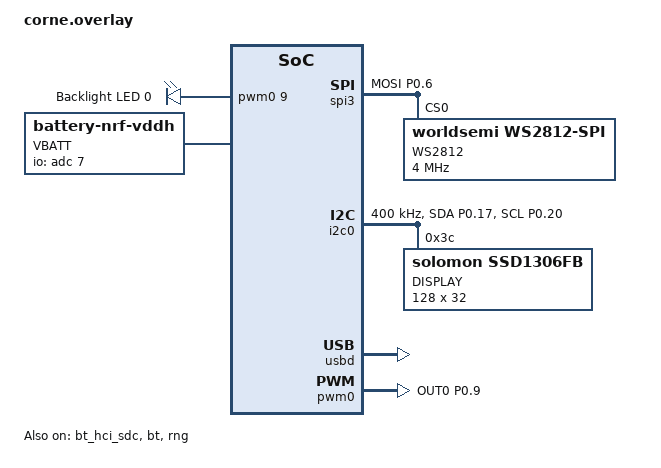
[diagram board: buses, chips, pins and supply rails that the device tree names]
#include <dt-bindings/zmk/matrix_transform.h>
#include <dt-bindings/led/led.h>

&pinctrl {
    spi3_default: spi3_default {
        group1 {
            psels = <NRF_PSEL(SPIM_MOSI, 0, 6)>;
        };
    };

    spi3_sleep: spi3_sleep {
        group1 {
            psels = <NRF_PSEL(SPIM_MOSI, 0, 6)>;
            low-power-enable;
        };
    };

    i2c0_default: i2c0_default {
        group1 {
            psels = <NRF_PSEL(TWIM_SDA, 0, 17)>,
                    <NRF_PSEL(TWIM_SCL, 0, 20)>;
        };
    };

    i2c0_sleep: i2c0_sleep {
        group1 {
            psels = <NRF_PSEL(TWIM_SDA, 0, 17)>,
                    <NRF_PSEL(TWIM_SCL, 0, 20)>;
            low-power-enable;
        };
    };

    pwm0_default: pwm0_default {
        group1 {
            psels = <NRF_PSEL(PWM_OUT0, 0, 9)>;
        };
    };

    pwm0_sleep: pwm0_sleep {
        group1 {
            psels = <NRF_PSEL(PWM_OUT0, 0, 9)>;
            low-power-enable;
        };
    };

    // Configurações UART removidas
};

&spi3 {
    compatible = "nordic,nrf-spim";
    status = "okay";

    pinctrl-0 = <&spi3_default>;
    pinctrl-1 = <&spi3_sleep>;
    pinctrl-names = "default", "sleep";

    led_strip: ws2812@0 {
        compatible = "worldsemi,ws2812-spi";
        label = "WS2812";

        /* SPI */
        reg = <0>; /* ignorado, mas necessário para associações SPI */
        spi-max-frequency = <4000000>;

        /* WS2812 */
        chain-length = <27>; /* 27 LEDs para o Corne, 6 por linha + 3 no meio */
        spi-one-frame = <0x70>;
        spi-zero-frame = <0x40>;
        color-mapping = <LED_COLOR_ID_GREEN LED_COLOR_ID_RED LED_COLOR_ID_BLUE>;
    };
};

&i2c0 {
    compatible = "nordic,nrf-twi";
    status = "okay";
    pinctrl-0 = <&i2c0_default>;
    pinctrl-1 = <&i2c0_sleep>;
    pinctrl-names = "default", "sleep";
    clock-frequency = <400000>;

    oled: ssd1306@3c {
        compatible = "solomon,ssd1306fb";
        reg = <0x3c>;
        label = "DISPLAY";
        width = <128>;
        height = <32>;
        segment-offset = <0>;
        page-offset = <0>;
        display-offset = <0>;
        multiplex-ratio = <31>;
        segment-remap;
        com-invdir;
        com-sequential;
        prechargep = <0x22>;
        /* Configurações otimizadas para OLED 0.91" */
        contrast = <128>;  /* Contraste ajustado para melhor visibilidade */
        inversion-on;      /* Melhora visibilidade em OLEDs pequenos */
    };
};

/ {
    chosen {
        zmk,underglow = &led_strip;
        zmk,battery = &vbatt;
        zmk,display = &oled;
        zmk,backlight = &backlight;
        zephyr,entropy = &rng;
        zephyr,flash = &flash0;
    };

    backlight: pwm_leds {
        compatible = "pwm-leds";
        pwm_led_0 {
            pwms = <&pwm0 9 10000 PWM_POLARITY_NORMAL>;
            label = "Backlight LED 0";
        };
    };

    vbatt: vbatt {
        compatible = "zmk,battery-nrf-vddh";
        label = "VBATT";
        /* Otimizações para leitura de bateria mais precisa */
        io-channels = <&adc 7>;
        output-ohms = <2000000>;
        full-ohms = <(2000000 + 806000)>;
    };
    
    /* Configurações para prevenir bouncing específico de switches de perfil baixo */
    kscan0: kscan {
        compatible = "zmk,kscan-gpio-matrix";
        label = "KSCAN";
        diode-direction = "col2row";
        debounce-period = <10>;       /* Ajustado para perfil baixo */
        debounce-press-ms = <3>;      /* Valores específicos para teclado low profile */
        debounce-release-ms = <3>;    /* Valores específicos para teclado low profile */
        wait-time-ms = <12>;          /* Ajustado para melhor responsividade */
    };
};

/* Configurações USB otimizadas */
&usbd {
    status = "okay";
    cdc_acm_uart: cdc_acm_uart {
        compatible = "zephyr,cdc-acm-uart";
    };
};

/* Melhorar estabilidade do bluetooth */
&bt_hci_sdc {
    status = "okay";
    compatible = "nordic,nrf-sdc-spi";
    bt-hci-sdc {
        compatible = "zephyr,bt-hci-sdc";
        local-mac-address = [00 00 00 00 00 00];
    };
};

/* Configurações de BLE otimizadas */
&bt {
    status = "okay";
    high-pwr-supervision = <1>;
    zephyr,sdc-llpm-support;
    
    /* Adicionadas configurações para melhor conectividade */
    compatible = "nordic,nrf-radio";
    tx-high-power-mode;
    conn-tx-max-power = <9>;  /* 9dBm para melhor alcance */
    bt-rx-stats;
};

/* Configurações para otimizar economia de energia */
&cpu0 {
    clock-frequency = <64000000>;
    compatible = "arm,cortex-m4f";
    /* Ajustes de power management */
    low-power-wake = "PM_ACTIVE";
    wakeup-source;
};

/* Suporte a PWM para controle refinado do backlight */
&pwm0 {
    status = "okay";
    pinctrl-0 = <&pwm0_default>;
    pinctrl-1 = <&pwm0_sleep>;
    pinctrl-names = "default", "sleep";
};

/* Configurações do flash para armazenamento */
&flash0 {
    /* Ajuste para otimização do flash storage */
    erase-block-size = <4096>;
    write-block-size = <4>;
};

/* Configurações do RNG para geração de números aleatórios (segurança bluetooth) */
&rng {
    status = "okay";
};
